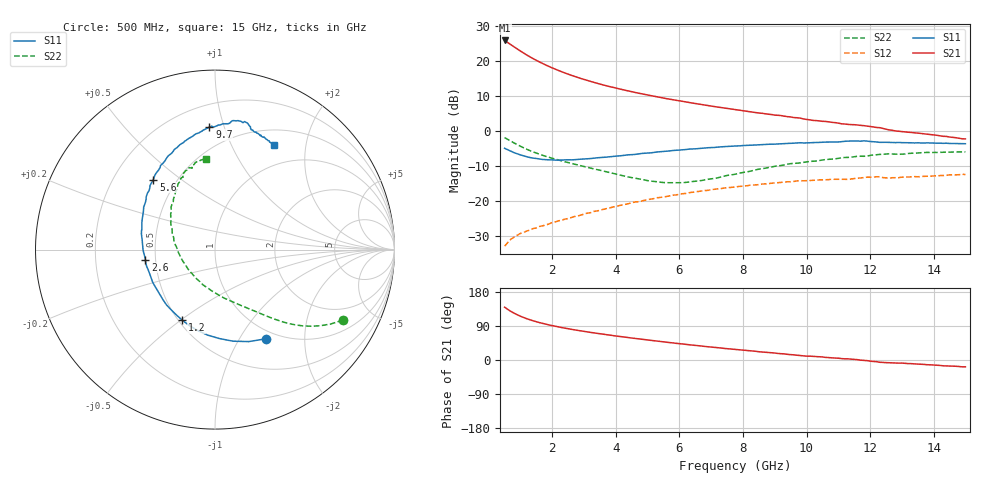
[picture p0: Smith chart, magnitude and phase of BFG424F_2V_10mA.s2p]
! Filename BFG424F_2V_10mA.prm
! Simulation_Values
! Created	by	janssen	on	nov	2006
!	Column ranking S11, S21,S12,S22 both magnitude and phase.
!	VCE	=	2	V,	IC	=	10	mA
!	Common	Emitter	S-Parameters
#	GHZ	S	MA	R	50
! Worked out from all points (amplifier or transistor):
!   146 points, 500 MHz to 15 GHz, reference 50 ohm
!   highest |S21| = 25.9 dB at 500 MHz (marker M1)
!   |S21| within 3 dB of that: start of sweep to 994.6 MHz
!   unconditionally stable (mu >= 1): 2.328 GHz to end of sweep
!   at 2.9 GHz: K = 1.10, MAG = 17.6 dB, |S12| = -23.9 dB
!   at 7.8 GHz: K = 1.19, MAG = 8.3 dB, |S12| = -15.8 dB
!   at 15 GHz: K = 1.50, MAG = 0.9 dB, |S12| = -12.3 dB
!   lowest NFmin = 1.40 dB at 900 MHz
!   S11 on the Smith chart (normalised r, x): 500 MHz: 0.89, -1.31; 1.2 GHz: 0.52, -0.51; 2.6 GHz: 0.44, -0.06; 5.6 GHz: 0.37, +0.40; 9.7 GHz: 0.35, +0.89; 15 GHz: 0.70, +1.47
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0.5  0.573 -60.0  19.81 139.4  0.023 65.6  0.814 -28.9
0.6  0.546 -69.8  18.49 133.4  0.026 61.9  0.767 -32.7
0.7  0.52 -78.9  17.23 128.1  0.029 60.3  0.723 -36.0
0.8  0.496 -87.2  16.04 123.4  0.031 58.4  0.682 -38.7
0.9  0.478 -95.0  14.95 119.2  0.033 57.1  0.645 -41.2
1  0.461 -102.0  13.97 115.4  0.035 56.0  0.612 -43.2
1.2  0.434 -114.7  12.26 108.9  0.038 55.4  0.555 -46.7
1.3  0.423 -120.5  11.54 106.0  0.039 55.0  0.53 -48.1
1.5  0.41 -131.0  10.3 100.9  0.042 54.9  0.489 -50.8
1.8  0.394 -144.7  8.819 94.4  0.046 55.6  0.439 -54.4
2.2  0.388 -159.5  7.371 87.2  0.053 56.8  0.39 -59.1
2.6  0.392 -171.9  6.308 81.0  0.059 58.0  0.35 -64.1
3  0.403 177.5  5.499 75.5  0.066 59.0  0.315 -69.8
4  0.442 156.1  4.142 63.4  0.085 59.4  0.246 -88.3
5.4  0.512 134.2  3.054 48.8  0.114 56.5  0.188 -127.9
5.6  0.52 131.4  2.927 46.9  0.118 56.0  0.185 -134.6
6.8  0.58 117.3  2.369 35.8  0.143 51.6  0.203 -174.4
7.8  0.619 107.7  2.03 27.7  0.162 47.5  0.247 161.3
9.7  0.684 92.6  1.564 12.6  0.196 38.8  0.351 131.7
10.2  0.69 89.0  1.433 9.7  0.2 36.0  0.375 126.6
12.6  0.696 72.3  1.049 -7.2  0.215 25.7  0.478 107.4
15  0.666 60.6  0.781 -18.0  0.242 18.1  0.509 95.8
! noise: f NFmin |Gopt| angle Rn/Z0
0.9  1.4  0.02  -63.9  0.19
2  1.6  0.06  137.4  0.19
